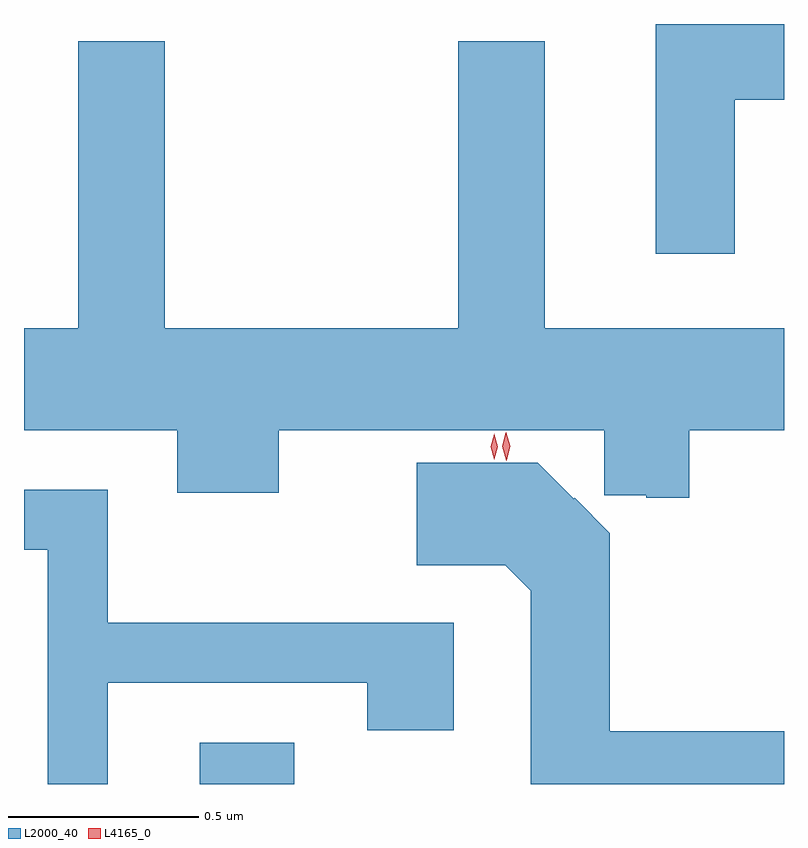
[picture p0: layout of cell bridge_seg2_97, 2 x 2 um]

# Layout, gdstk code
import gdstk
lib = gdstk.Library(unit=1e-6, precision=1e-09)
def R(c, l, rs):  # rectangles x0, y0, x1, y1
    for r in rs: c.add(gdstk.rectangle(r[:2], r[2:], *l))
def P(c, l, *ps):  # polygons
    for p in ps: c.add(gdstk.Polygon(p, *l))
L2000_40 = (2000, 40)
L4165_0 = (4165, 0)

bridge_seg2_97 = lib.new_cell('bridge_seg2_97')
R(bridge_seg2_97, L2000_40, [(1248.681,994.105,1248.929,994.214)])
P(bridge_seg2_97, L2000_40, [(1250.089,995.906),(1250.218,995.906),(1250.218,996.105),(1249.881,996.105),(1249.881,995.501),(1250.089,995.501)],
  [(1249.969,995.036),(1250.218,995.036),(1250.218,995.304),(1249.589,995.304),(1249.589,996.059),(1249.361,996.059),(1249.361,995.304),(1248.589,995.304),(1248.589,996.059),(1248.361,996.059),(1248.361,995.304),(1248.218,995.304),(1248.218,995.036),(1248.621,995.036),(1248.621,994.871),(1248.889,994.871),(1248.889,995.036),(1249.745,995.036),(1249.745,994.865),(1249.855,994.865),(1249.855,994.858),(1249.969,994.858)],
  [(1250.218,994.244),(1249.759,994.244),(1249.759,994.765),(1249.667,994.858),(1249.665,994.856),(1249.57,994.95),(1249.251,994.95),(1249.251,994.681),(1249.484,994.681),(1249.551,994.614),(1249.551,994.105),(1250.218,994.105)],
  [(1248.439,994.371),(1249.121,994.371),(1249.121,994.246),(1249.349,994.246),(1249.349,994.529),(1248.439,994.529),(1248.439,994.879),(1248.218,994.879),(1248.218,994.721),(1248.281,994.721),(1248.281,994.105),(1248.439,994.105)])
P(bridge_seg2_97, L4165_0, [(1249.487,994.956),(1249.487,994.957),(1249.477,994.994),(1249.486,995.03),(1249.487,995.031),(1249.487,995.03),(1249.497,994.994),(1249.488,994.957)],
  [(1249.456,994.958),(1249.455,994.959),(1249.446,994.993),(1249.455,995.026),(1249.456,995.027),(1249.456,995.026),(1249.465,994.993),(1249.456,994.959)])

lib.write_gds('bridge_seg2_97.gds')
